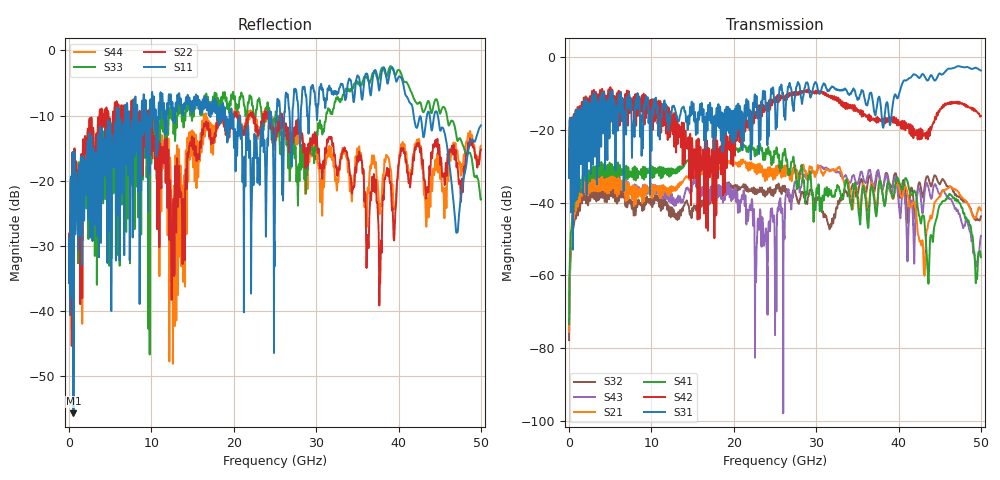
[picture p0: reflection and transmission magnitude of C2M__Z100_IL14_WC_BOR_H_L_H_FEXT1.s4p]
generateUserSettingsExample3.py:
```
from userSettingsObjects import simulationSettings, valueWithLimits
from math import sqrt, pow

# Clock example

def generateUserSettings() -> simulationSettings:
    simSettings = simulationSettings()

    ########################################
    # General settings
    ########################################
    # Frequency
    simSettings.general.symbolRate.value = 32e9 # symbol rate [S/s] (or 2x frequency [Hz])
        
    # Signaling mode ('standard','1+D','1+0.5D','clock')
    simSettings.general.signalingMode = 'clock'
    
    # Modulation (M-PAM)
    simSettings.general.modulation.value = 4
    
    # Resolution
    simSettings.general.samplesPerSymb.value = 100 # horizontal resolution
    simSettings.general.yAxisLength.value = 201    # vertical resolution (must be odd)
    
    # General display
    simSettings.general.numbSymb.value = 2    # number of symbols to plot
    simSettings.general.contLevels.value = 10 # number of contour levels
        
    # Target BER
    simSettings.general.targetBER.value = 1e-6 # used for measurement purposes

    # Display responses
    simSettings.general.plotting.channelResponse = True
    simSettings.general.plotting.CTLEResponse    = True
    simSettings.general.plotting.pulseResponse   = True
    
    # Display inteferences
    simSettings.general.plotting.jitterSource     = True
    simSettings.general.plotting.noiseSource      = True
    simSettings.general.plotting.distortionSource = False
    
    # Display probability distributions
    simSettings.general.plotting.ISI              = False # CAREFUL: CAN BE SLOW TO PLOT!
    simSettings.general.plotting.PDFInitial       = False
    simSettings.general.plotting.PDFCrossTalk     = False
    simSettings.general.plotting.PDFDistorted     = False
    simSettings.general.plotting.PDFJitter        = False
    simSettings.general.plotting.PDFNoise         = False
    simSettings.general.plotting.PDFFinal         = True
    
    # Display bit-error rate distributions
    simSettings.general.plotting.BER  = False            # plot BER contour over BER
    simSettings.general.plotting.BER2 = True             # plot BER contour over PDF
    
    # Display measurement results
    simSettings.general.plotting.results = True
    
    ########################################
    # Adaption settings
    ########################################
    # Run adaption algorithm
    simSettings.adaption.adapt = False
    
    # Adaption complexity
    simSettings.adaption.totalParents.value = 2
    simSettings.adaption.childrenPerParent.value = 10
    simSettings.adaption.totalMutations.value = 2
    simSettings.adaption.mode1Generations.value = 20 # coarse adjustment
    simSettings.adaption.mode2Generations.value = 55 # fine adjustment

    # Define knobs to optimize
    simSettings.adaption.knobs = ['transmitter.EQ.taps.pre1',\
        'transmitter.EQ.taps.post1',\
        'receiver.preAmp.gain',\
        'receiver.CTLE.zeroFreq',\
        'receiver.CTLE.pole1Freq',\
        'receiver.FFE.taps.pre2',\
        'receiver.FFE.taps.pre1',\
        'receiver.FFE.taps.main',\
        'receiver.FFE.taps.post1',\
        'receiver.FFE.taps.post2',\
        'receiver.DFE.taps.post1',\
        'receiver.DFE.taps.post2']
        
    ########################################
    # Transmitter settings 
    ########################################    
    # Maximum amplitude [V]
    simSettings.transmitter.signalAmplitude.value = 1.5
    
    # Add source impedance (drop amplitude by half)
    simSettings.transmitter.includeSourceImpedance = True
    
    # Rise/fall time [s]
    simSettings.transmitter.tRise.value = 1e-12
    
    # TX bandwidth [Hz]
    simSettings.transmitter.TXBandwidth.value = 30e9
    
    # Impulse cursor length
    simSettings.transmitter.preCursorCount.value = 2 
    simSettings.transmitter.postCursorCount.value = 4

    # Pre-emphasis
    simSettings.transmitter.EQ.addEqualization = False
    simSettings.transmitter.EQ.taps.pre3  = valueWithLimits(-0.00)
    simSettings.transmitter.EQ.taps.pre2  = valueWithLimits(-0.00)
    simSettings.transmitter.EQ.taps.pre1  = valueWithLimits(-0.00)
    simSettings.transmitter.EQ.taps.main  = valueWithLimits( 1.00) # calculated automatically
    simSettings.transmitter.EQ.taps.post1 = valueWithLimits(-0.00)
    simSettings.transmitter.EQ.taps.post2 = valueWithLimits(-0.00)
    simSettings.transmitter.EQ.taps.post3 = valueWithLimits(-0.00)
    simSettings.transmitter.EQ.taps.post4 = valueWithLimits(-0.00)
    simSettings.transmitter.EQ.taps.post5 = valueWithLimits(-0.00)

    # Jitter
    simSettings.transmitter.jitter.addJitter = False
    simSettings.transmitter.jitter.stdDeviation.value = 0 # TX random jitter standard diviation [UI]
    simSettings.transmitter.jitter.amplitude.value = 0    # TX deterministic jitter amplitude [UI]
    simSettings.transmitter.jitter.DCD.value = 0          # TX duty-cycle distortion jitter [UI]
    
    # Noise
    simSettings.transmitter.noise.addNoise = True
    simSettings.transmitter.noise.stdDeviation.value = sqrt(simSettings.transmitter.signalAmplitude.value**2/2/pow(10, (6*6.01+1.76)/10)) # TX random noise standard diviation [V]
    simSettings.transmitter.noise.amplitude.value = 0    # TX deterministic noise amplitude [V]
    simSettings.transmitter.noise.frequency.value = 1e6  # TX deterministic noise frequency [Hz]

    # Distortion
    simSettings.transmitter.distortion.addDistortion = False
    simSettings.transmitter.distortion.fileName = 'distortionTX.mat'
    
    ########################################
    # Channel settings
    ########################################
    # Apply channel/cross-talk
    simSettings.channel.addChannel = True
    simSettings.channel.addCrossTalk = True
    
    # Add notch (must update transfer function)
    simSettings.channel.addNotch = False
    simSettings.channel.notchFreq.value = 20e9      # frequency of notch
    simSettings.channel.notchAttenuation.value = 20 # attenuation at notch [dB]
       
    # Convolve pulse response (convolve all channels with additional transfer function, must update transfer function)
    simSettings.channel.modelCircuitTF = False
    simSettings.channel.modelCircuitTFName = 'FrontendTransferFunction.mat'
    
    # Override channel pulse response (must have same over-sampling frequency)
    simSettings.channel.overrideResponse = False
    simSettings.channel.overrideFileName = 'FrontEndPulseResponse.mat'  
    
    # Approximate cross-talk to speed up simulation
    simSettings.channel.approximate = True
    
    # Make cross-talk channels asynchronous
    simSettings.channel.makeAsynchronous = True

    # Channel file names (ensure channel data has same frequency points)
    simSettings.channel.fileNames.thru = 'C2M__Z100_IL14_WC_BOR_H_L_H_THRU.s4p'
    simSettings.channel.fileNames.next1 = 'C2M__Z100_IL14_WC_BOR_H_L_H_NEXT1.s4p'
    simSettings.channel.fileNames.next2 = 'C2M__Z100_IL14_WC_BOR_H_L_H_NEXT2.s4p'
    simSettings.channel.fileNames.next3 = 'C2M__Z100_IL14_WC_BOR_H_L_H_NEXT3.s4p'
    simSettings.channel.fileNames.next4 = 'C2M__Z100_IL14_WC_BOR_H_L_H_NEXT4.s4p'
    simSettings.channel.fileNames.fext1 = 'C2M__Z100_IL14_WC_BOR_H_L_H_FEXT1.s4p'
    simSettings.channel.fileNames.fext2 = 'C2M__Z100_IL14_WC_BOR_H_L_H_FEXT2.s4p'
    simSettings.channel.fileNames.fext3 = 'C2M__Z100_IL14_WC_BOR_H_L_H_FEXT3.s4p'

    # Noise
    simSettings.channel.noise.addNoise = True
    simSettings.channel.noise.noiseDensity.value = 5.2e-17*3 # channel noise density [V^2/Hz]
    
    ########################################
    # Receiver settings
    ########################################
    # Maximum amplitude [V]
    simSettings.receiver.signalAmplitude.value = 0.2
    
    # PreAmp
    simSettings.receiver.preAmp.addGain = True
    simSettings.receiver.preAmp.gain.value = 0.5

    # CTLE
    simSettings.receiver.CTLE.addEqualization = True    
    simSettings.receiver.CTLE.zeroFreq.value  = 20.5e9 # frequency of first zero [Hz]
    simSettings.receiver.CTLE.zeroNumb.value  = 1      # number of zeros
    simSettings.receiver.CTLE.pole1Freq.value = 29.0e9 # frequency of first pole [Hz]
    simSettings.receiver.CTLE.pole1Numb.value = 1      # number of first poles
    simSettings.receiver.CTLE.pole2Freq.value = 30.0e9 # frequency of additional poles [Hz]
    simSettings.receiver.CTLE.pole2Numb.value = 3      # number of additional poles
    
    # FFE
    simSettings.receiver.FFE.addEqualization = False
    simSettings.receiver.FFE.taps.pre3  = valueWithLimits(-0.00)
    simSettings.receiver.FFE.taps.pre2  = valueWithLimits(-0.00)
    simSettings.receiver.FFE.taps.pre1  = valueWithLimits( 0.00)
    simSettings.receiver.FFE.taps.main  = valueWithLimits( 1.00)
    simSettings.receiver.FFE.taps.post1 = valueWithLimits(-0.00)
    simSettings.receiver.FFE.taps.post2 = valueWithLimits(-0.00)
    simSettings.receiver.FFE.taps.post3 = valueWithLimits(-0.00)
    simSettings.receiver.FFE.taps.post4 = valueWithLimits(-0.00)
    simSettings.receiver.FFE.taps.post5 = valueWithLimits(-0.00)
    
    # DFE
    simSettings.receiver.DFE.addEqualization = False
    simSettings.receiver.DFE.taps.post1 = valueWithLimits(-0.00)
    simSettings.receiver.DFE.taps.post2 = valueWithLimits(-0.00)
    simSettings.receiver.DFE.taps.post3 = valueWithLimits(-0.00)
    simSettings.receiver.DFE.taps.post4 = valueWithLimits(-0.00)
    simSettings.receiver.DFE.taps.post5 = valueWithLimits(-0.00)
    
    # Jitter
    simSettings.receiver.jitter.addJitter = True
    simSettings.receiver.jitter.stdDeviation.value = 0.02 # CDR random jitter standard diviation [UI]
    simSettings.receiver.jitter.amplitude.value = 0    # CDR deterministic jitter amplitude [UI]
    simSettings.receiver.jitter.DCD.value = 0          # CDR duty-cycle distortion jitter [UI]
    
    # Noise
    simSettings.receiver.noise.addNoise = True
    simSettings.receiver.noise.stdDeviation.value = 1e-3 #sqrt((2.4e-3)^2+(1.5e-3)^2) # RX random noise standard diviation [V]
    simSettings.receiver.noise.amplitude.value = 0    # RX deterministic noise amplitude [V]
    simSettings.receiver.noise.frequency.value = 1e6  # RX deterministic noise frequency [Hz]
    
    # Distortion
    simSettings.receiver.distortion.addDistortion = False
    simSettings.receiver.distortion.fileName = 'distortionRX.mat'

    return simSettings
```
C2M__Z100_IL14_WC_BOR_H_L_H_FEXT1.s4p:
# GHz S MA R 50
! S-Parameters data
! Freq  magS11  angS11  magS12  angS12  magS13  angS13  magS14  angS14
!  magS21  angS21  magS22  angS22  magS23  angS23  magS24  angS24
!  magS31  angS31  magS32  angS32  magS33  angS33  magS34  angS34
!  magS41  angS41  magS42  angS42  magS43  angS43  magS44  angS44
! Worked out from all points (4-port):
!   5000 points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, 10 MHz to 50 GHz, reference 50 ohm
!   strongest paths, dB at 10 MHz, 12.51 GHz, 25.01 GHz, 37.51 GHz, 50 GHz:
!     S31: -33.2, -13.7, -13.1, -11.5, -3.7
!     S42: -33.1, -16.5, -11.6, -17.6, -16.1
!     S41: -73.2, -31.6, -26.5, -37.7, -55.0
!     S21: -75.4, -36.5, -33.2, -37.7, -42.1
!     S43: -75.5, -38.7, -76.4, -31.0, -49.1
!     S32: -77.8, -42.2, -37.3, -31.6, -43.8
!   lowest |S11| = -55.7 dB at 540 MHz (marker M1), VSWR 1.00, Z = 50.1 - j0.0845 ohm
!   |S11| at or under -10 dB: start of sweep to 5.766 GHz; 20.73 GHz to 24.26 GHz (3.532 GHz wide, 15.7 % of centre); 44.77 GHz to end of sweep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
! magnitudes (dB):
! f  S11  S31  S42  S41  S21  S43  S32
! 10 MHz  -35.7  -33.2  -33.1  -73.2  -75.4  -75.5  -77.8
! 540 MHz  -55.7  -17.5  -16.9  -42.3  -44.7  -44.3  -46.8
! 50 GHz  -11.5  -3.7  -16.1  -55.0  -42.1  -49.1  -43.8
